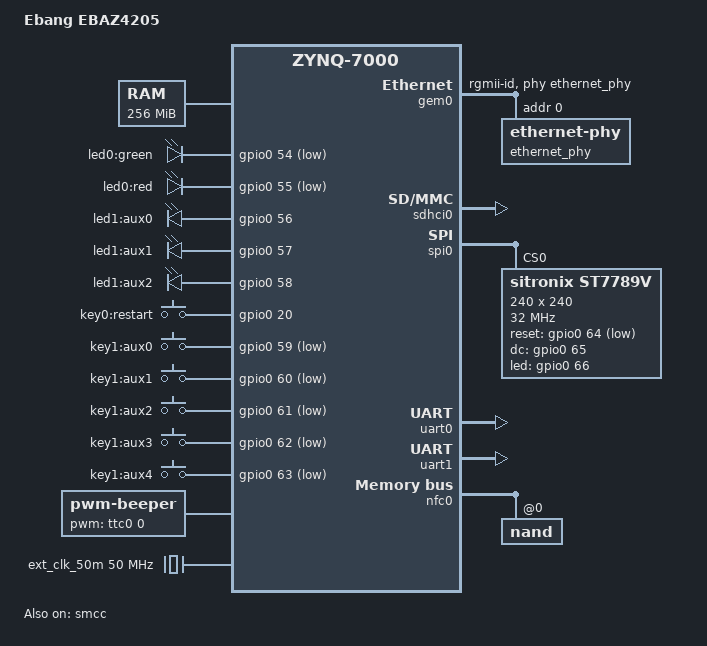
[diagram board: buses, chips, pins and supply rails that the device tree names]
// SPDX-License-Identifier: GPL-2.0
/dts-v1/;
#include "zynq-7000.dtsi"
#include <dt-bindings/input/input.h>
#include <dt-bindings/gpio/gpio.h>
#include <dt-bindings/interrupt-controller/irq.h>

/ {
	model = "Ebang EBAZ4205";
	compatible = "ebang,ebaz4205", "xlnx,zynq-7000";

	interrupt-parent = <&intc>;

	aliases {
		ethernet0 = &gem0;
		serial0 = &uart1;
		serial1 = &uart0;
		mmc0 = &sdhci0;
		spi0 = &spi0;
		smcc = &smcc;
		nfc0 = &nfc0;
	};

	memory@0 {
		device_type = "memory";
		reg = <0x0 0x10000000>;
	};

	chosen {
		bootargs = "console=ttyPS1,115200 console=ttyPS0,115200 root=/dev/mmcblk0p2 rootfstype=ext4 rootwait rw";
		stdout-path = "serial0:115200n8";
	};

	leds {
		compatible = "gpio-leds";

		heartbeat: led0 {
			label = "led0:green";
			gpios = <&gpio0 54 GPIO_ACTIVE_LOW>;
			linux,default-trigger = "heartbeat";
		};

		led1 {
			label = "led0:red";
			gpios = <&gpio0 55 GPIO_ACTIVE_LOW>;
			linux,default-state = "off";
		};

		led2 {
			label = "led1:aux0";
			gpios = <&gpio0 56 GPIO_ACTIVE_HIGH>;
			linux,default-state = "off";
		};

		led3 {
			label = "led1:aux1";
			gpios = <&gpio0 57 GPIO_ACTIVE_HIGH>;
			linux,default-state = "off";
		};

		led4 {
			label = "led1:aux2";
			gpios = <&gpio0 58 GPIO_ACTIVE_HIGH>;
			linux,default-state = "off";
		};
	};

	keys {
		compatible = "gpio-keys";

		restart_key: restart {
			label = "key0:restart";
			linux,code = <KEY_RESTART>;
			gpios = <&gpio0 20 GPIO_ACTIVE_HIGH>;
		};

		key0 {
			label = "key1:aux0";
			linux,code = <KEY_LEFT>;
			gpios = <&gpio0 59 GPIO_ACTIVE_LOW>;
		};

		key1 {
			label = "key1:aux1";
			linux,code = <KEY_DOWN>;
			gpios = <&gpio0 60 GPIO_ACTIVE_LOW>;
		};

		key2 {
			label = "key1:aux2";
			linux,code = <KEY_ENTER>;
			gpios = <&gpio0 61 GPIO_ACTIVE_LOW>;
		};

		key3 {
			label = "key1:aux3";
			linux,code = <KEY_RIGHT>;
			gpios = <&gpio0 62 GPIO_ACTIVE_LOW>;
		};

		key4 {
			label = "key1:aux4";
			linux,code = <KEY_UP>;
			gpios = <&gpio0 63 GPIO_ACTIVE_LOW>;
		};
	};

	beeper: beeper {
		compatible = "pwm-beeper";
		pwms = <&ttc0 0 370370 0>; /* 2.7 kHz, normal polarity */
	};

	ext_clk_50m: ext_clk_50m {
		compatible = "fixed-clock";
		#clock-cells = <0>;
		clock-frequency = <50000000>; /* 50 MHz */
	};
};

&ttc0 {
	#pwm-cells = <3>;
};

&clkc {
	ps-clk-frequency = <33333333>;
	fclk-enable = <0xf>;
};

&gem0 {
	status = "okay";
	phy-mode = "rgmii-id";
	phy-handle = <&ethernet_phy>;

	ethernet_phy: ethernet-phy@0 {
		reg = <0>;
	};
};

&sdhci0 {
	status = "okay";
	u-boot,dm-pre-reloc;
};

&gpio0 {
	status = "okay";
};

&spi0 {
	status = "okay";

	st7789v@0 {
		compatible = "sitronix,st7789v";
		reg = <0>;
		buswidth = <8>;
		spi-max-frequency = <32000000>;
		spi-cpol;
		spi-cpha;
		/* control pins */
		reset-gpios = <&gpio0 64 GPIO_ACTIVE_LOW>;
		dc-gpios = <&gpio0 65 GPIO_ACTIVE_HIGH>;
        led-gpios = <&gpio0 66 GPIO_ACTIVE_HIGH>;
		/* optional: rotation, init data via bindings */
		width = <240>;
		height = <240>;
		rotation = <180>; /* can be 0 / 90 / 180 / 270 */
	};
};

&uart0 {
	status = "okay";
	u-boot,dm-pre-reloc;
};

&uart1 {
	status = "okay";
	u-boot,dm-pre-reloc;
};

&smcc {
	status = "okay";
};

&nfc0 {
	status = "okay";

	#address-cells = <1>;
	#size-cells = <0>;

	nand@0 {
		reg = <0>;

		nand-bus-width = <8>;
		nand-ecc-mode = "hw";

		#address-cells = <0x1>;
		#size-cells = <0x1>;

		/* partitions are optional */
//		partition@nand-data {
//			label = "nand-data";
//			reg = <0x00000000 0x08000000>;
//		};
	};
};

/ {
	amba: axi {
		compatible = "simple-bus";
		#address-cells = <0x1>;
		#size-cells = <0x1>;
		ranges;

		hdmi_sink_dma: dma@7c420000 {
			compatible = "adi,axi-dmac-1.00.a";
			reg = <0x7c420000 0x10000>;
			#dma-cells = <1>;
			interrupts = <0 56 IRQ_TYPE_LEVEL_HIGH>;
			clocks = <&clkc 15>;

			adi,channels {
				#size-cells = <0>;
				#address-cells = <1>;

				dma-channel@0 {
					reg = <0>;
					adi,source-bus-width = <64>;
					adi,source-bus-type = <0>;
					adi,destination-bus-width = <64>;
					adi,destination-bus-type = <1>;
				};
			};
		};

		mwipcore0: mwipcore@0 {
			compatible = "mathworks,mwipcore-v3.00";
			#address-cells = <1>;
			#size-cells = <0>;

			stream-channel@0 {
				reg = <0x0>;
				#address-cells = <1>;
				#size-cells = <0>;
				compatible = "mathworks,axi4stream-mm2s-channel-v1.00";
				dmas = <&hdmi_sink_dma 0>;
				dma-names = "hdmi_sink";
				mathworks,dev-name = "hdmi_sink";

				data-channel@0 {
					reg = <0x0>;
					compatible = "mathworks,iio-data-channel-v1.00";
					mathworks,data-format = "u8/8>>0";
				};
			};
		};
	};
};
